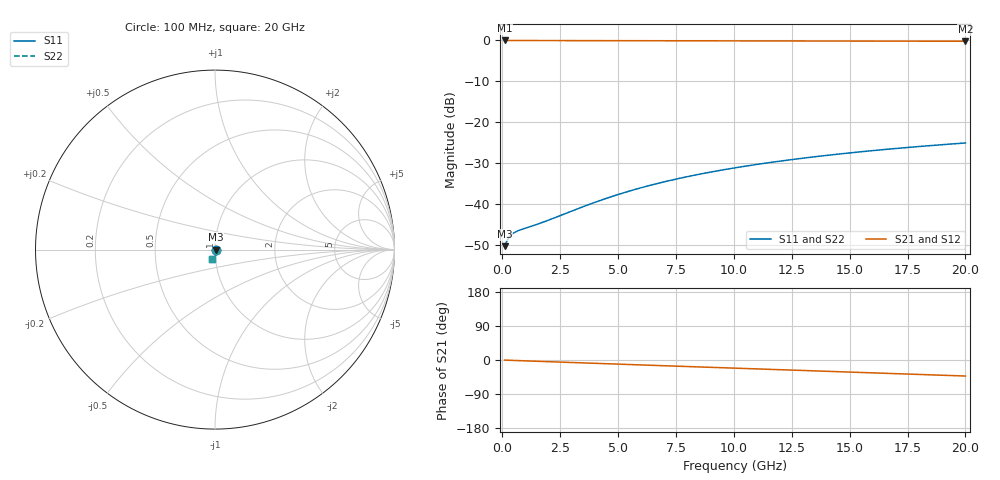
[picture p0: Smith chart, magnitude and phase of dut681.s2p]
! Touchstone file exported from HFSS 2026.1.0
!  File:  C:/ffzhzh/LocalFiles/Ansys_Project_Files/temp_train_BSMRDL_681_1783017529_53980.aedt
!  Generated:  02:40:02 AM Jul  3, 2026
!  Design:  BSMRDL
!  Project:  temp_train_BSMRDL_681_1783017529_53980
! Variables:
!  h_bsmrdl = 4.97um
!  h_ox = 20um
!  h_rdl = 5um
!  h_sub = 80um
!  h_tmrdl = 5um
!  h_tsv = 80um
!  h_via = 3um
!  l_bsmrdl = 764.38um
!  l_sub = 1164.38um
!  l_tmrdl = 200um
!  m_sub = 200um
!  pitch = 24.09um
!  r_tsv = 6um
!  s_tmrdl = 10um
!  w_bsmrdl = 20.05um
!  w_sub = 500um
!  w_tmrdl = 12um
!  x_tsv_center1 = 206um
!  x_tsv_center2 = 990.43um
!  x_tsv_center3 = 1202.43um
!  x_tsv_center4 = 1986.86um
!  x_tsv_center5 = 2198.86um
!  x_tsv_center6 = 2983.29um
# GHz S MA R 50.000000
! Terminal data exported
! Port[1] = BSM_RDL1_1_T1
! Port[2] = BSM_RDL1_1_T2
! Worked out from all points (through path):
!   200 points, 100 MHz to 20 GHz, reference 50 ohm
!   highest |S21| = -0.03 dB at 100 MHz (marker M1); lowest = -0.2 dB at 20 GHz (marker M2)
!   group delay of S21, straight-line fit = 5.84 ps
!   lowest |S11| = -50.3 dB at 100 MHz (marker M3), VSWR 1.01, Z = 50.3 + j0.0544 ohm
!   |S11| at or under -10 dB: start of sweep to end of sweep
!   |S22| runs from -50.3 to -25.1 dB; largest |S21 - S12| = 2.7e-15
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0.1  0.003062 10.2  0.997 -0.3  0.997 -0.3  0.003062 10.2
! Gamma 0 0 0 0
! Port Impedance 50 0 50 0
0.2  0.003558 12.6  0.9965 -0.5  0.9965 -0.5  0.003558 12.6
0.3  0.003969 10.9  0.9961 -0.7  0.9961 -0.7  0.003969 10.9
0.4  0.004258 8.1  0.9958 -1.0  0.9958 -1.0  0.004258 8.1
0.5  0.004462 5.2  0.9956 -1.2  0.9956 -1.2  0.004462 5.2
0.6  0.004618 2.6  0.9954 -1.4  0.9954 -1.4  0.004618 2.6
0.8  0.004861 -2.0  0.9951 -1.8  0.9951 -1.8  0.004861 -2.0
1.8  0.006068 -18.1  0.9941 -4.0  0.9941 -4.0  0.00607 -18.1
3.5  0.009318 -36.7  0.9918 -7.7  0.9918 -7.7  0.009327 -36.7
4.3  0.01126 -43.8  0.9906 -9.4  0.9906 -9.4  0.01127 -43.7
5.1  0.01336 -50.0  0.9895 -11.1  0.9895 -11.1  0.01338 -49.9
5.9  0.01557 -55.6  0.9884 -12.8  0.9884 -12.8  0.01559 -55.5
6.8  0.01814 -61.2  0.9872 -14.7  0.9872 -14.7  0.01817 -61.1
7.6  0.02048 -65.7  0.9863 -16.4  0.9863 -16.4  0.02051 -65.6
8.4  0.02283 -69.8  0.9854 -18.1  0.9854 -18.1  0.02287 -69.7
10.1  0.02787 -77.6  0.9836 -21.7  0.9836 -21.7  0.02793 -77.4
11.7  0.03261 -83.9  0.9821 -25.0  0.9821 -25.0  0.03267 -83.8
13.4  0.03758 -90.0  0.9805 -28.6  0.9805 -28.6  0.03766 -89.8
15  0.04218 -95.3  0.9791 -31.9  0.9791 -31.9  0.04227 -95.1
16.7  0.04696 -100.5  0.9776 -35.4  0.9776 -35.4  0.04706 -100.3
18.3  0.05131 -105.2  0.9763 -38.8  0.9763 -38.8  0.05143 -104.9
20  0.05577 -109.9  0.9748 -42.3  0.9748 -42.3  0.0559 -109.6
